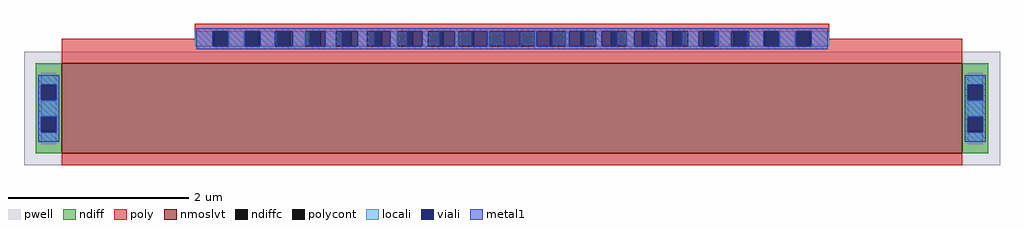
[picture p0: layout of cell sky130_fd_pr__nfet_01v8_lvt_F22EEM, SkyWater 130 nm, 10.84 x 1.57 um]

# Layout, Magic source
magic
tech sky130A
magscale 1 2
<< pwell >>
rect -1084 -157 1084 95
<< nmoslvt >>
rect -1000 -131 1000 69
<< ndiff >>
rect -1058 20 -1000 69
rect -1058 -14 -1046 20
rect -1012 -14 -1000 20
rect -1058 -48 -1000 -14
rect -1058 -82 -1046 -48
rect -1012 -82 -1000 -48
rect -1058 -131 -1000 -82
rect 1000 20 1058 69
rect 1000 -14 1012 20
rect 1046 -14 1058 20
rect 1000 -48 1058 -14
rect 1000 -82 1012 -48
rect 1046 -82 1058 -48
rect 1000 -131 1058 -82
<< ndiffc >>
rect -1046 -14 -1012 20
rect -1046 -82 -1012 -48
rect 1012 -14 1046 20
rect 1012 -82 1046 -48
<< poly >>
rect -705 141 705 157
rect -705 124 -663 141
rect -1000 107 -663 124
rect -629 107 -595 141
rect -561 107 -527 141
rect -493 107 -459 141
rect -425 107 -391 141
rect -357 107 -323 141
rect -289 107 -255 141
rect -221 107 -187 141
rect -153 107 -119 141
rect -85 107 -51 141
rect -17 107 17 141
rect 51 107 85 141
rect 119 107 153 141
rect 187 107 221 141
rect 255 107 289 141
rect 323 107 357 141
rect 391 107 425 141
rect 459 107 493 141
rect 527 107 561 141
rect 595 107 629 141
rect 663 124 705 141
rect 663 107 1000 124
rect -1000 69 1000 107
rect -1000 -157 1000 -131
<< polycont >>
rect -663 107 -629 141
rect -595 107 -561 141
rect -527 107 -493 141
rect -459 107 -425 141
rect -391 107 -357 141
rect -323 107 -289 141
rect -255 107 -221 141
rect -187 107 -153 141
rect -119 107 -85 141
rect -51 107 -17 141
rect 17 107 51 141
rect 85 107 119 141
rect 153 107 187 141
rect 221 107 255 141
rect 289 107 323 141
rect 357 107 391 141
rect 425 107 459 141
rect 493 107 527 141
rect 561 107 595 141
rect 629 107 663 141
<< locali >>
rect -705 107 -665 141
rect -629 107 -595 141
rect -559 107 -527 141
rect -487 107 -459 141
rect -415 107 -391 141
rect -343 107 -323 141
rect -271 107 -255 141
rect -199 107 -187 141
rect -127 107 -119 141
rect -55 107 -51 141
rect 51 107 55 141
rect 119 107 127 141
rect 187 107 199 141
rect 255 107 271 141
rect 323 107 343 141
rect 391 107 415 141
rect 459 107 487 141
rect 527 107 559 141
rect 595 107 629 141
rect 665 107 705 141
rect -1046 22 -1012 47
rect -1046 -48 -1012 -14
rect -1046 -109 -1012 -84
rect 1012 22 1046 47
rect 1012 -48 1046 -14
rect 1012 -109 1046 -84
<< viali >>
rect -665 107 -663 141
rect -663 107 -631 141
rect -593 107 -561 141
rect -561 107 -559 141
rect -521 107 -493 141
rect -493 107 -487 141
rect -449 107 -425 141
rect -425 107 -415 141
rect -377 107 -357 141
rect -357 107 -343 141
rect -305 107 -289 141
rect -289 107 -271 141
rect -233 107 -221 141
rect -221 107 -199 141
rect -161 107 -153 141
rect -153 107 -127 141
rect -89 107 -85 141
rect -85 107 -55 141
rect -17 107 17 141
rect 55 107 85 141
rect 85 107 89 141
rect 127 107 153 141
rect 153 107 161 141
rect 199 107 221 141
rect 221 107 233 141
rect 271 107 289 141
rect 289 107 305 141
rect 343 107 357 141
rect 357 107 377 141
rect 415 107 425 141
rect 425 107 449 141
rect 487 107 493 141
rect 493 107 521 141
rect 559 107 561 141
rect 561 107 593 141
rect 631 107 663 141
rect 663 107 665 141
rect -1046 20 -1012 22
rect -1046 -12 -1012 20
rect -1046 -82 -1012 -50
rect -1046 -84 -1012 -82
rect 1012 20 1046 22
rect 1012 -12 1046 20
rect 1012 -82 1046 -50
rect 1012 -84 1046 -82
<< metal1 >>
rect -701 141 701 147
rect -701 107 -665 141
rect -631 107 -593 141
rect -559 107 -521 141
rect -487 107 -449 141
rect -415 107 -377 141
rect -343 107 -305 141
rect -271 107 -233 141
rect -199 107 -161 141
rect -127 107 -89 141
rect -55 107 -17 141
rect 17 107 55 141
rect 89 107 127 141
rect 161 107 199 141
rect 233 107 271 141
rect 305 107 343 141
rect 377 107 415 141
rect 449 107 487 141
rect 521 107 559 141
rect 593 107 631 141
rect 665 107 701 141
rect -701 101 701 107
rect -1052 22 -1006 43
rect -1052 -12 -1046 22
rect -1012 -12 -1006 22
rect -1052 -50 -1006 -12
rect -1052 -84 -1046 -50
rect -1012 -84 -1006 -50
rect -1052 -105 -1006 -84
rect 1006 22 1052 43
rect 1006 -12 1012 22
rect 1046 -12 1052 22
rect 1006 -50 1052 -12
rect 1006 -84 1012 -50
rect 1046 -84 1052 -50
rect 1006 -105 1052 -84
<< end >>
